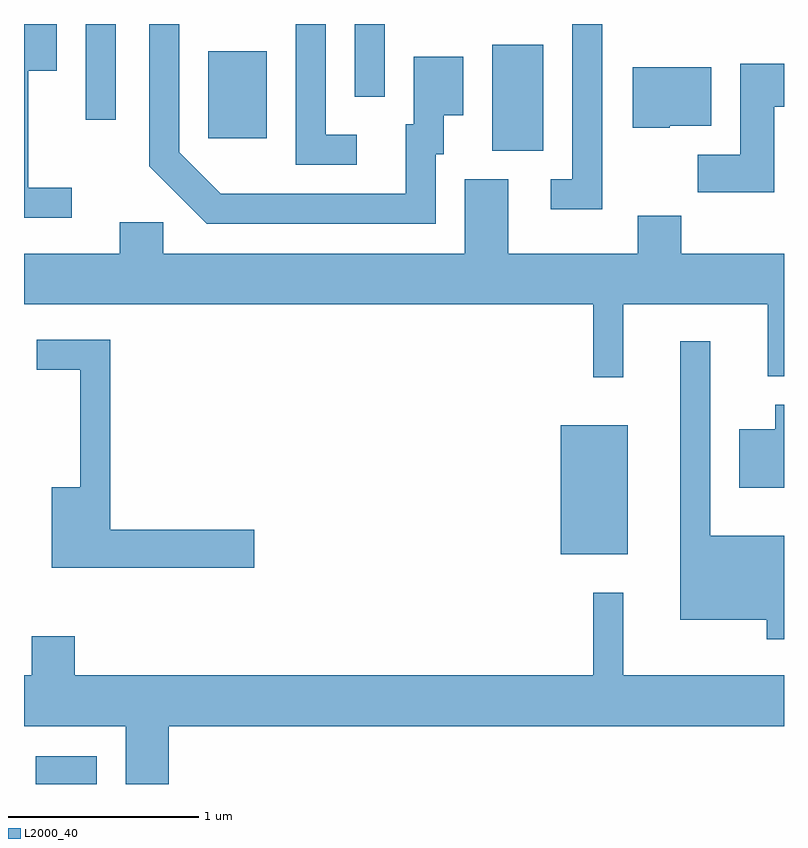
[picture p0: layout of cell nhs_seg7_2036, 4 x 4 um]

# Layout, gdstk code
import gdstk
lib = gdstk.Library(unit=1e-6, precision=1e-09)
def R(c, l, rs):  # rectangles x0, y0, x1, y1
    for r in rs: c.add(gdstk.rectangle(r[:2], r[2:], *l))
def P(c, l, *ps):  # polygons
    for p in ps: c.add(gdstk.Polygon(p, *l))
L2000_40 = (2000, 40)

nhs_seg7_2036 = lib.new_cell('nhs_seg7_2036')
R(nhs_seg7_2036, L2000_40, [(247.673,1696.252,247.994,1696.399), (250.436,1697.461,250.789,1698.139), (250.076,1699.586,250.344,1700.144), (248.581,1699.651,248.889,1700.109), (247.936,1699.748,248.094,1700.252), (249.351,1699.868,249.509,1700.252)])
P(nhs_seg7_2036, L2000_40, [(247.863,1699.389),(247.634,1699.389),(247.634,1700.006),(247.784,1700.006),(247.784,1700.252),(247.611,1700.252),(247.611,1699.231),(247.863,1699.231)],
  [(250.654,1700.252),(250.496,1700.252),(250.496,1699.434),(250.383,1699.434),(250.383,1699.276),(250.654,1699.276)],
  [(249.363,1699.669),(249.199,1699.669),(249.199,1700.252),(249.041,1700.252),(249.041,1699.511),(249.363,1699.511)],
  [(249.779,1699.566),(249.819,1699.566),(249.819,1699.771),(249.924,1699.771),(249.924,1700.079),(249.661,1700.079),(249.661,1699.724),(249.621,1699.724),(249.621,1699.359),(248.647,1699.359),(248.429,1699.577),(248.429,1700.252),(248.271,1700.252),(248.271,1699.504),(248.574,1699.201),(249.779,1699.201)],
  [(251.559,1699.816),(251.611,1699.816),(251.611,1700.044),(251.381,1700.044),(251.381,1699.564),(251.156,1699.564),(251.156,1699.366),(251.559,1699.366)],
  [(251.01,1699.716),(251.229,1699.716),(251.229,1700.024),(250.816,1700.024),(250.816,1699.706),(251.01,1699.706)],
  [(250.764,1698.776),(251.526,1698.776),(251.526,1698.398),(251.611,1698.398),(251.611,1699.044),(251.069,1699.044),(251.069,1699.244),(250.841,1699.244),(250.841,1699.044),(250.159,1699.044),(250.159,1699.434),(249.931,1699.434),(249.931,1699.044),(248.344,1699.044),(248.344,1699.209),(248.116,1699.209),(248.116,1699.044),(247.611,1699.044),(247.611,1698.776),(250.606,1698.776),(250.606,1698.393),(250.764,1698.393)],
  [(248.824,1697.589),(248.064,1697.589),(248.064,1698.589),(247.678,1698.589),(247.678,1698.431),(247.906,1698.431),(247.906,1697.814),(247.756,1697.814),(247.756,1697.391),(248.824,1697.391)],
  [(251.611,1697.559),(251.224,1697.559),(251.224,1698.583),(251.066,1698.583),(251.066,1697.116),(251.521,1697.116),(251.521,1697.013),(251.611,1697.013)],
  [(251.611,1698.249),(251.566,1698.249),(251.566,1698.119),(251.376,1698.119),(251.376,1697.811),(251.611,1697.811)],
  [(248.374,1696.556),(251.611,1696.556),(251.611,1696.824),(250.764,1696.824),(250.764,1697.258),(250.606,1697.258),(250.606,1696.824),(247.879,1696.824),(247.879,1697.029),(247.651,1697.029),(247.651,1696.824),(247.611,1696.824),(247.611,1696.556),(248.146,1696.556),(248.146,1696.252),(248.374,1696.252)])

lib.write_gds('nhs_seg7_2036.gds')
